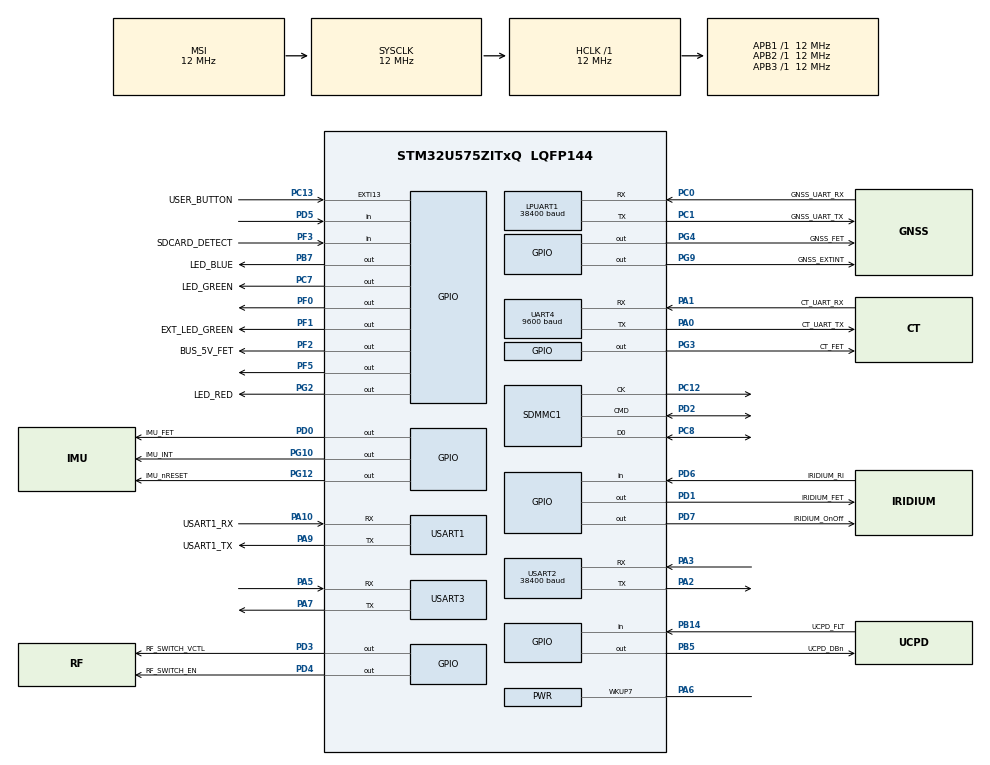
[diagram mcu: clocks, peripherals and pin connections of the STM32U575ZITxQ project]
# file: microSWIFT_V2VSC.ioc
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ADC4.Channel-0\#ChannelRegularConversion=ADC_CHANNEL_VREFINT
ADC4.NbrOfConversionFlag=1
ADC4.OffsetNumber-0\#ChannelRegularConversion=ADC_OFFSET_NONE
ADC4.Rank-0\#ChannelRegularConversion=1
ADC4.RankArg-0\#ChannelRegularConversion=ADC4_REGULAR_RANK_1
ADC4.SamplingTime-0\#ChannelRegularConversion=ADC4_SAMPLINGTIME_COMMON_1
ADC4.SelectedChannel=ADC_CHANNEL_VREFINT
CORTEX_M33_NS.userName=CORTEX_M33
FILEX.FX_SD_INTERFACE=1
FILEX.GLUE_FUNCTIONS=DMA_API
FILEX.TRANSFER_NOTIFICATION=ThreadX_Semaphore
FILEX.useRTOS=1
GPDMA1.CIRCULARMODE_GPDMACH0=DISABLE
GPDMA1.ChannelPRIV_GPDMACH0=DMA_CHANNEL_PRIV
GPDMA1.DATAHANDLING_GPDMACH0=NONE
GPDMA1.DESTINC_GPDMACH0=DMA_DINC_INCREMENTED
GPDMA1.DESTINC_GPDMACH1=DMA_DINC_INCREMENTED
GPDMA1.IPHANDLE_GPDMACH0-SIMPLEREQUEST_GPDMACH0=__NULL
GPDMA1.IPHANDLE_GPDMACH1-SIMPLEREQUEST_GPDMACH1=__NULL
GPDMA1.IPHANDLE_GPDMACH2-SIMPLEREQUEST_GPDMACH2=__NULL
GPDMA1.IPHANDLE_GPDMACH3-SIMPLEREQUEST_GPDMACH3=__NULL
GPDMA1.PRIORITY_GPDMACH1=DMA_LOW_PRIORITY_HIGH_WEIGHT
GPDMA1.REQUEST_GPDMACH0=GPDMA1_REQUEST_LPUART1_RX
GPDMA1.REQUEST_GPDMACH1=GPDMA1_REQUEST_UART4_RX
GPDMA1.REQUEST_GPDMACH2=GPDMA1_REQUEST_USART3_TX
GPDMA1.REQUEST_GPDMACH3=GPDMA1_REQUEST_USART3_RX
LPUART1.BaudRate=38400
Mcu.Family=STM32U5
Mcu.Name=STM32U575ZITxQ
Mcu.Package=LQFP144
NVIC.GPDMA1_Channel0_IRQn=true\:0\:0\:false\:false\:true\:true\:false\:true\:true
NVIC.GPDMA1_Channel1_IRQn=true\:0\:0\:false\:false\:true\:true\:false\:true\:true
NVIC.GPDMA1_Channel2_IRQn=true\:0\:0\:false\:false\:true\:true\:false\:true\:true
NVIC.GPDMA1_Channel3_IRQn=true\:0\:0\:false\:false\:true\:true\:false\:true\:true
NVIC.LPUART1_IRQn=true\:0\:0\:false\:false\:true\:false\:true\:true\:true
NVIC.PWR_S3WU_IRQn=true\:0\:0\:false\:false\:true\:false\:true\:true\:true
NVIC.PriorityGroup=NVIC_PRIORITYGROUP_3
NVIC.SDMMC1_IRQn=true\:0\:0\:false\:false\:true\:false\:true\:true\:true
NVIC.TIM17_IRQn=true\:0\:0\:false\:false\:true\:false\:true\:true\:true
NVIC.TIM4_IRQn=true\:7\:0\:false\:false\:true\:false\:false\:true\:true
NVIC.TimeBase=TIM4_IRQn
NVIC.TimeBaseIP=TIM4
NVIC.USART3_IRQn=true\:0\:0\:false\:false\:true\:false\:true\:true\:true
PA0.GPIO_Label=CT_UART_TX
PA0.Mode=Asynchronous
PA0.Signal=UART4_TX
PA1.GPIO_Label=CT_UART_RX
PA1.Mode=Asynchronous
PA1.Signal=UART4_RX
PA10.GPIO_Label=USART1_RX
PA10.GPIO_PuPd=GPIO_PULLDOWN
PA10.GPIO_Speed=GPIO_SPEED_FREQ_VERY_HIGH
PA10.Mode=Asynchronous
PA10.Signal=USART1_RX
PA11.GPIO_Label=USB_OTG_FS_DM
PA11.GPIO_Speed=GPIO_SPEED_FREQ_VERY_HIGH
PA11.Signal=USB_OTG_FS_DM
PA12.GPIO_Label=USB_OTG_FS_DP
PA12.GPIO_Speed=GPIO_SPEED_FREQ_VERY_HIGH
PA12.Signal=USB_OTG_FS_DP
PA13\ (JTMS/SWDIO).Mode=Trace_Asynchronous_SW
PA13\ (JTMS/SWDIO).Signal=DEBUG_JTMS-SWDIO
PA14\ (JTCK/SWCLK).Mode=Trace_Asynchronous_SW
PA14\ (JTCK/SWCLK).Signal=DEBUG_JTCK-SWCLK
PA15\ (JTDI).GPIO_Label=UCPD1_CC1
PA15\ (JTDI).Signal=UCPD1_CC1
PA2.Mode=Asynchronous
PA2.Signal=USART2_TX
PA3.Mode=Asynchronous
PA3.Signal=USART2_RX
PA5.Mode=Asynchronous
PA5.Signal=USART3_RX
PA6.Mode=WakeUp7
PA6.Signal=PWR_WKUP7
PA7.Mode=Asynchronous
PA7.Signal=USART3_TX
PA9.GPIO_Label=USART1_TX
PA9.GPIO_PuPd=GPIO_PULLDOWN
PA9.GPIO_Speed=GPIO_SPEED_FREQ_VERY_HIGH
PA9.Mode=Asynchronous
PA9.Signal=USART1_TX
PB14.GPIO_Label=UCPD_FLT
PB14.Signal=GPIO_Input
PB15.GPIO_Label=UCPD1_CC2
PB15.Signal=UCPD1_CC2
PB3\ (JTDO/TRACESWO).Mode=Trace_Asynchronous_SW
PB3\ (JTDO/TRACESWO).Signal=DEBUG_JTDO-SWO
PB5.GPIO_Label=UCPD_DBn
PB5.Signal=GPIO_Output
PB7.GPIO_Label=LED_BLUE
PB7.Signal=GPIO_Output
PC0.GPIO_Label=GNSS_UART_RX
PC0.Mode=Asynchronous
PC0.Signal=LPUART1_RX
PC1.GPIO_Label=GNSS_UART_TX
PC1.Mode=Asynchronous
PC1.Signal=LPUART1_TX
PC12.Mode=SD_1_bit
PC12.Signal=SDMMC1_CK
PC13.GPIO_Label=USER_BUTTON
PC13.GPIO_ModeDefaultEXTI=GPIO_MODE_IT_FALLING
PC13.Signal=GPXTI13
PC14-OSC32_IN\ (PC14).Mode=LSE-External-Oscillator
PC14-OSC32_IN\ (PC14).Signal=RCC_OSC32_IN
PC15-OSC32_OUT\ (PC15).Mode=LSE-External-Oscillator
PC15-OSC32_OUT\ (PC15).Signal=RCC_OSC32_OUT
PC7.GPIO_Label=LED_GREEN
PC7.GPIO_PuPd=GPIO_PULLUP
PC7.GPIO_Speed=GPIO_SPEED_FREQ_HIGH
PC7.Signal=GPIO_Output
PC8.Mode=SD_1_bit
PC8.Signal=SDMMC1_D0
PD0.GPIO_Label=IMU_FET
PD0.Signal=GPIO_Output
PD1.GPIO_Label=IRIDIUM_FET
PD1.Signal=GPIO_Output
PD2.Mode=SD_1_bit
PD2.Signal=SDMMC1_CMD
PD3.GPIO_Label=RF_SWITCH_VCTL
PD3.Signal=GPIO_Output
PD4.GPIO_Label=RF_SWITCH_EN
PD4.Signal=GPIO_Output
PD5.Signal=GPIO_Input
PD6.GPIO_Label=IRIDIUM_RI
PD6.Signal=GPIO_Input
PD7.GPIO_Label=IRIDIUM_OnOff
PD7.GPIO_ModeDefaultOutputPP=GPIO_MODE_OUTPUT_PP
PD7.GPIO_PuPd=GPIO_NOPULL
PD7.GPIO_Speed=GPIO_SPEED_FREQ_LOW
PD7.PinState=GPIO_PIN_RESET
PD7.Signal=GPIO_Output
PF0.Signal=GPIO_Output
PF1.GPIO_Label=EXT_LED_GREEN
PF1.Signal=GPIO_Output
PF2.GPIO_Label=BUS_5V_FET
PF2.Signal=GPIO_Output
PF3.GPIO_Label=SDCARD_DETECT
PF3.Signal=GPIO_Input
PF5.Signal=GPIO_Output
PG10.GPIO_Label=IMU_INT
PG10.Signal=GPIO_Output
PG12.GPIO_Label=IMU_nRESET
PG12.Signal=GPIO_Output
PG2.GPIO_Label=LED_RED
PG2.Signal=GPIO_Output
PG3.GPIO_Label=CT_FET
PG3.Signal=GPIO_Output
PG4.GPIO_Label=GNSS_FET
PG4.Signal=GPIO_Output
PG9.GPIO_Label=GNSS_EXTINT
PG9.Signal=GPIO_Output
PWR.DMA2DPowerDownInStopMode=__NULL
PWR.Dcache1PowerDownInStopMode=__NULL
PWR.IcachePowerDownInStopMode=PWR_ICACHE_FULL_STOP_RETENTION
PWR.PowerMode=PWR_SMPS_SUPPLY
PWR.RAM1Page1PowerDownInStopMode=__NULL
PWR.RAM1Page2PowerDownInStopMode=__NULL
PWR.RAM1Page3PowerDownInStopMode=__NULL
PWR.RAM2Page1PowerDownInStopMode=__NULL
PWR.RAM2Page2PowerDownInStopMode=__NULL
PWR.RAM3Page1PowerDownInStopMode=__NULL
PWR.RAM3Page2PowerDownInStopMode=__NULL
PWR.RAM3Page3PowerDownInStopMode=__NULL
PWR.RAM3Page4PowerDownInStopMode=__NULL
PWR.RAM3Page5PowerDownInStopMode=__NULL
PWR.RAM3Page6PowerDownInStopMode=__NULL
PWR.RAM3Page7PowerDownInStopMode=__NULL
PWR.RAM3Page8PowerDownInStopMode=__NULL
PWR.SRAM4PowerDownInStopMode=PWR_SRAM4_FULL_STOP_RETENTION
PWR.pwrPrivilege=PWR_PRIVILEGE_NO
ProjectManager.HeapSize=0x200
ProjectManager.StackSize=0x400
ProjectManager.TargetToolchain=CMake
RCC.ADCCLockSelection=RCC_ADCDACCLKSOURCE_SYSCLK
RCC.ADCFreq_Value=12000000
RCC.AHBFreq_Value=12000000
RCC.APB1Freq_Value=12000000
RCC.APB1TimFreq_Value=12000000
RCC.APB2Freq_Value=12000000
RCC.APB2TimFreq_Value=12000000
RCC.APB3Freq_Value=12000000
RCC.CortexFreq_Value=12000000
RCC.DACCLockSelectionVirtual=RCC_DAC1CLKSOURCE_LSI
RCC.DACCLockSelectionVirtualString=RCC_DAC1CLKSOURCE_LSI
RCC.EPOD_VALUE=12000000
RCC.EnableCSSLSE=true
RCC.HCLKFreq_Value=12000000
RCC.HSE_VALUE=16000000
RCC.HSI48_VALUE=48000000
RCC.HSI_VALUE=16000000
RCC.LPTIM1CLockSelectionVirtual=RCC_LPTIM1CLKSOURCE_LSE
RCC.LPUART1CLockSelectionVirtual=RCC_LPUART1CLKSOURCE_SYSCLK
RCC.LSE_Drive_Capability=RCC_LSEDRIVE_HIGH
RCC.LSIDIV_VALUE=32000
RCC.MSIAutoCalibration=PLLMODE_MSIS
RCC.MSIClockRange=RCC_MSIRANGE_3
RCC.MSI_VALUE=12000000
RCC.PLL1R=6
RCC.PLL1_VCI_Range-AdvancedSettings=RCC_PLLVCIRANGE_0
RCC.PLL2FRACN=0
RCC.PLL3FRACN=0
RCC.PLLFRACN=0
RCC.PLLM=3
RCC.PLLN=32
RCC.RTCClockSelection=RCC_RTCCLKSOURCE_LSE
RCC.SYSCLKFreq_VALUE=12000000
RCC.UART4CLockSelectionVirtual=RCC_UART4CLKSOURCE_SYSCLK
RCC.UART5CLockSelectionVirtual=RCC_UART5CLKSOURCE_SYSCLK
RCC.USBFreq_Value=48000000
RCC.VCOOutputFreq_Value=128000000
RTC.BinMode=RTC_BINARY_NONE
RTC.Format=RTC_FORMAT_BCD
RTC.rtcPrivilegeFull=RTC_PRIVILEGE_FULL_YES
SDMMC1.ClockDiv=4
SDMMC1.HardwareFlowControl=SDMMC_HARDWARE_FLOW_CONTROL_ENABLE
THREADX.ALIGN_TYPE_DEFINED=1
THREADX.AZRTOS_APP_MEM_ALLOCATION_METHOD=1
THREADX.TX_APP_MEM_POOL_SIZE=131072
THREADX.TX_MINIMUM_STACK=800
THREADX.TX_TIMER_TICKS_PER_SECOND=10
TIM16.PeriodNoDither=59999
TIM16.Prescaler=12000
TIM17.PeriodNoDither=59999
TIM17.Prescaler=12000
TIM17.RepetitionCounter=10
UART4.BaudRate=9600
USART1.VirtualMode-Asynchronous=VM_ASYNC
USART2.BaudRate=38400
USART2.VirtualMode-Asynchronous=VM_ASYNC
USART3.VirtualMode-Asynchronous=VM_ASYNC
VP_ADC4_Vref_Input.Mode=IN-Vrefint
VP_FILEX_VS_FileOoSystemJjFileXJjCore.Mode=FileX_Core
VP_FILEX_VS_SDOointerface.Mode=SD_interface
VP_GPDMA1_VS_GPDMACH0.Mode=SIMPLEREQUEST_GPDMACH0
VP_GPDMA1_VS_GPDMACH1.Mode=SIMPLEREQUEST_GPDMACH1
VP_GPDMA1_VS_GPDMACH2.Mode=SIMPLEREQUEST_GPDMACH2
VP_GPDMA1_VS_GPDMACH3.Mode=SIMPLEREQUEST_GPDMACH3
VP_ICACHE_VS_ICACHE.Mode=DirectMappedCache
VP_LPBAMQUEUE_VS_QUEUE.Mode=QUEUEMODE
VP_LPBAM_VS_SIG1.Mode=SmartRun
VP_LPBAM_VS_SIG4.Mode=LPDMA1
VP_PWR_VS_DBSignals.Mode=DisableDeadBatterySignals
VP_PWR_VS_LPOM.Mode=PowerOptimisation
VP_PWR_VS_SECSignals.Mode=Security/Privilege
VP_RTC_VS_RTC_Activate.Mode=RTC_Enabled
VP_RTC_VS_RTC_Calendar.Mode=RTC_Calendar
VP_SYS_VS_tim4.Mode=TIM4
VP_THREADX_VS_RTOSJjThreadXJjCoreJjDefault.Mode=Core_Default
VP_TIM16_VS_ClockSourceINT.Mode=Enable_Timer
VP_TIM17_VS_ClockSourceINT.Mode=Enable_Timer
VREF+.Mode=InternalMode
VREF+.Signal=VREFBUF_OUT
board=NUCLEO-U575ZI-Q

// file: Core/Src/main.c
/* USER CODE BEGIN Header */
/**
  ******************************************************************************
  * @file           : main.c
  * @brief          : Main program body
  ******************************************************************************
  * @attention
  *
  * Copyright (c) 2022 STMicroelectronics.
  * All rights reserved.
  *
  * This software is licensed under terms that can be found in the LICENSE file
  * in the root directory of this software component.
  * If no LICENSE file comes with this software, it is provided AS-IS.
  *
  ******************************************************************************
*/
/* USER CODE END Header */
#include "main.h"
#include "app_threadx.h"

/* USER CODE BEGIN Includes */
#include "tx_api.h"
#include <string.h>
/* USER CODE END Includes */

ADC_HandleTypeDef hadc4;

UART_HandleTypeDef hlpuart1;
UART_HandleTypeDef huart4;
UART_HandleTypeDef huart1;
UART_HandleTypeDef huart2;
UART_HandleTypeDef huart3;
DMA_HandleTypeDef handle_GPDMA1_Channel0;
DMA_HandleTypeDef handle_GPDMA1_Channel1;
DMA_HandleTypeDef handle_GPDMA1_Channel3;
DMA_HandleTypeDef handle_GPDMA1_Channel2;

RTC_HandleTypeDef hrtc;

SD_HandleTypeDef hsd1;

TIM_HandleTypeDef htim16;
TIM_HandleTypeDef htim17;

void SystemClock_Config(void);
static void SystemPower_Config(void);
static void MX_GPIO_Init(void);
static void MX_GPDMA1_Init(void);
static void MX_RTC_Init(void);
static void MX_ICACHE_Init(void);
static void MX_UART4_Init(void);
static void MX_ADC4_Init(void);
static void MX_TIM17_Init(void);
static void MX_LPUART1_UART_Init(void);
static void MX_TIM16_Init(void);
static void MX_USART1_UART_Init(void);
static void MX_USART2_UART_Init(void);
static void MX_SDMMC1_SD_Init(void);
static void MX_USART3_UART_Init(void);
/* USER CODE BEGIN PFP */
extern void shut_it_all_down(void);
/*void Send_MON_VER(void);
void Read_MON_VER_Response(void);
void Process_MON_VER_Response(uint8_t *data, uint16_t len);*/

/* USER CODE END PFP */

/* USER CODE BEGIN 0 */
int _write(int file, char *ptr, int len){
  HAL_UART_Transmit(&huart1, (uint8_t*)ptr, len, HAL_MAX_DELAY);
  return len;
}
/* USER CODE END 0 */

int main(void)
{

  /* MCU Configuration--------------------------------------------------------*/

  /* Reset of all peripherals, Initializes the Flash interface and the Systick. */
  HAL_Init();

  /* USER CODE BEGIN Init */
  // Force the reset of the RTC and clear anything in the backup domain
  HAL_PWR_EnableBkUpAccess();
  __HAL_RCC_BACKUPRESET_FORCE();
  HAL_Delay(1);
  __HAL_RCC_BACKUPRESET_RELEASE();
  /* USER CODE END Init */

  /* Configure the system clock */
  SystemClock_Config();

  /* Configure the System Power */
  SystemPower_Config();

  /* USER CODE BEGIN SysInit */
  /*
   * !!!!!!!!!!!!!!!!!!!!!!!!!!!!!!!!!!!!!!!!!!!!!!!!!!!!!!!!!!!!!!!!!!!!!!!!!!!!!
   *
   * DO
   * NOT
   * EVER
   * CALL
   *
   * HAL_DBGMCU_EnableDBGStopMode()
   *
   * WHEN
   * USING
   * RTC
   * AS
   * WAKEUP
   * SOURCE!!!
   *
   * RE-READ
   * THE
   * ERRATA
   * IF
   * YOU'VE
   * FORGOTTEN
   * WHY
   * !!!!!!!!!!!!!!!!!!!!!!!!!!!!!!!!!!!!!!!!!!!!!!!!!!!!!!!!!!!!!!!!!!!!!!!!!!!!!
   */

  /* USER CODE END SysInit */

  /* Initialize all configured peripherals */
  MX_GPIO_Init();
  MX_GPDMA1_Init();
  MX_RTC_Init();
  MX_ICACHE_Init();
  MX_UART4_Init();
  MX_ADC4_Init();
  MX_TIM17_Init();
  MX_LPUART1_UART_Init();
  MX_TIM16_Init();
  MX_USART1_UART_Init();
  MX_USART2_UART_Init();
  MX_SDMMC1_SD_Init();
  MX_USART3_UART_Init();
  /* USER CODE BEGIN 2 */

  uint32_t reset_reason = HAL_RCC_GetResetSource();

  device_handles_t handles;

  handles.hrtc = &hrtc;
  //handles.CT_uart = &huart4;
  handles.BLE_uart = &huart3; // Use uart3 temporarily for BLE
  //handles.Iridium_uart = &huart3;
  handles.GNSS_uart = &hlpuart1;
  handles.BLE_dma_handle = &handle_GPDMA1_Channel2; // Use GPDMA1_Channel1 temporarily for BLE
  // in hal_msp, config changed to handle_GPDMA1_Channel2.Init.SrcInc = DMA_SINC_INCREMENTED;
  // DMA_SINC_FIXED for Iridium
  //handles.CT_dma_handle = &handle_GPDMA1_Channel1;
  handles.GNSS_dma_handle = &handle_GPDMA1_Channel0;
  //handles.Iridium_tx_dma_handle = &handle_GPDMA1_Channel2;
  //handles.Iridium_rx_dma_handle = &handle_GPDMA1_Channel3;
  handles.iridium_timer = &htim17;
  handles.gnss_timer = &htim16;
  handles.reset_reason = reset_reason;
  handles.sd_handle = &hsd1;

  MX_ThreadX_Init(&handles);
  /* USER CODE END 2 */

  /* We should never get here as control is now taken by the scheduler */
  /* Infinite loop */
  /* USER CODE BEGIN WHILE */
  while (1)
  {
    //Send_MON_VER();  // Send MON-VER message
    //Read_MON_VER_Response();  // Read the response
    HAL_Delay(1000);
	  //shut_it_all_down();
	  //HAL_NVIC_SystemReset();
    /* USER CODE END WHILE */

  }
}

void SystemClock_Config(void)
{
  RCC_OscInitTypeDef RCC_OscInitStruct = {0};
  RCC_ClkInitTypeDef RCC_ClkInitStruct = {0};

  /** Configure the main internal regulator output voltage
  */
  if (HAL_PWREx_ControlVoltageScaling(PWR_REGULATOR_VOLTAGE_SCALE3) != HAL_OK)
  {
    Error_Handler();
  }

  /** Configure LSE Drive Capability
  */
  HAL_PWR_EnableBkUpAccess();
  __HAL_RCC_LSEDRIVE_CONFIG(RCC_LSEDRIVE_HIGH);

  /** Initializes the CPU, AHB and APB buses clocks
  */
  RCC_OscInitStruct.OscillatorType = RCC_OSCILLATORTYPE_LSE|RCC_OSCILLATORTYPE_MSI;
  RCC_OscInitStruct.LSEState = RCC_LSE_ON;
  RCC_OscInitStruct.MSIState = RCC_MSI_ON;
  RCC_OscInitStruct.MSICalibrationValue = RCC_MSICALIBRATION_DEFAULT;
  RCC_OscInitStruct.MSIClockRange = RCC_MSIRANGE_3;
  RCC_OscInitStruct.PLL.PLLState = RCC_PLL_ON;
  RCC_OscInitStruct.PLL.PLLSource = RCC_PLLSOURCE_MSI;
  RCC_OscInitStruct.PLL.PLLMBOOST = RCC_PLLMBOOST_DIV1;
  RCC_OscInitStruct.PLL.PLLM = 3;
  RCC_OscInitStruct.PLL.PLLN = 32;
  RCC_OscInitStruct.PLL.PLLP = 2;
  RCC_OscInitStruct.PLL.PLLQ = 2;
  RCC_OscInitStruct.PLL.PLLR = 6;
  RCC_OscInitStruct.PLL.PLLRGE = RCC_PLLVCIRANGE_0;
  RCC_OscInitStruct.PLL.PLLFRACN = 0;
  if (HAL_RCC_OscConfig(&RCC_OscInitStruct) != HAL_OK)
  {
    Error_Handler();
  }

  /** Initializes the CPU, AHB and APB buses clocks
  */
  RCC_ClkInitStruct.ClockType = RCC_CLOCKTYPE_HCLK|RCC_CLOCKTYPE_SYSCLK
                              |RCC_CLOCKTYPE_PCLK1|RCC_CLOCKTYPE_PCLK2
                              |RCC_CLOCKTYPE_PCLK3;
  RCC_ClkInitStruct.SYSCLKSource = RCC_SYSCLKSOURCE_MSI;
  RCC_ClkInitStruct.AHBCLKDivider = RCC_SYSCLK_DIV1;
  RCC_ClkInitStruct.APB1CLKDivider = RCC_HCLK_DIV1;
  RCC_ClkInitStruct.APB2CLKDivider = RCC_HCLK_DIV1;
  RCC_ClkInitStruct.APB3CLKDivider = RCC_HCLK_DIV1;

  if (HAL_RCC_ClockConfig(&RCC_ClkInitStruct, FLASH_LATENCY_0) != HAL_OK)
  {
    Error_Handler();
  }

  /** Enable MSI Auto calibration
  */
  HAL_RCCEx_EnableMSIPLLMode();

  /** Enables the Clock Security System
  */
  HAL_RCCEx_EnableLSECSS();
}

/**
  * @brief Power Configuration
  * @retval None
  */
static void SystemPower_Config(void)
{
  HAL_PWREx_EnableVddIO2();

  /*
   * Disable the internal Pull-Up in Dead Battery pins of UCPD peripheral
   */
  HAL_PWREx_DisableUCPDDeadBattery();

  /*
   * SRAM Power Down In Stop Mode Config
   */
  HAL_PWREx_DisableRAMsContentStopRetention(PWR_SRAM4_FULL_STOP_RETENTION);
  HAL_PWREx_DisableRAMsContentStopRetention(PWR_ICACHE_FULL_STOP_RETENTION);

  /*
   * Switch to SMPS regulator instead of LDO
   */
  if (HAL_PWREx_ConfigSupply(PWR_SMPS_SUPPLY) != HAL_OK)
  {
    Error_Handler();
  }
  /* PWR_S3WU_IRQn interrupt configuration */
  HAL_NVIC_SetPriority(PWR_S3WU_IRQn, 0, 0);
  HAL_NVIC_EnableIRQ(PWR_S3WU_IRQn);
}

static void MX_ADC4_Init(void)
{

  ADC_ChannelConfTypeDef sConfig = {0};

  /** Common config
  */
  hadc4.Instance = ADC4;
  hadc4.Init.ClockPrescaler = ADC_CLOCK_ASYNC_DIV1;
  hadc4.Init.Resolution = ADC_RESOLUTION_12B;
  hadc4.Init.DataAlign = ADC_DATAALIGN_RIGHT;
  hadc4.Init.ScanConvMode = ADC4_SCAN_DISABLE;
  hadc4.Init.EOCSelection = ADC_EOC_SINGLE_CONV;
  hadc4.Init.LowPowerAutoPowerOff = ADC_LOW_POWER_NONE;
  hadc4.Init.LowPowerAutoWait = DISABLE;
  hadc4.Init.ContinuousConvMode = DISABLE;
  hadc4.Init.NbrOfConversion = 1;
  hadc4.Init.DiscontinuousConvMode = DISABLE;
  hadc4.Init.ExternalTrigConv = ADC_SOFTWARE_START;
  hadc4.Init.ExternalTrigConvEdge = ADC_EXTERNALTRIGCONVEDGE_NONE;
  hadc4.Init.DMAContinuousRequests = DISABLE;
  hadc4.Init.TriggerFrequencyMode = ADC_TRIGGER_FREQ_LOW;
  hadc4.Init.VrefProtection = ADC_VREF_PPROT_NONE;
  hadc4.Init.Overrun = ADC_OVR_DATA_PRESERVED;
  hadc4.Init.SamplingTimeCommon1 = ADC4_SAMPLETIME_1CYCLE_5;
  hadc4.Init.SamplingTimeCommon2 = ADC4_SAMPLETIME_1CYCLE_5;
  hadc4.Init.OversamplingMode = DISABLE;
  if (HAL_ADC_Init(&hadc4) != HAL_OK)
  {
    Error_Handler();
  }

  /** Configure Regular Channel
  */
  sConfig.Channel = ADC_CHANNEL_VREFINT;
  sConfig.Rank = ADC4_REGULAR_RANK_1;
  sConfig.SamplingTime = ADC4_SAMPLINGTIME_COMMON_1;
  sConfig.OffsetNumber = ADC_OFFSET_NONE;
  sConfig.Offset = 0;
  if (HAL_ADC_ConfigChannel(&hadc4, &sConfig) != HAL_OK)
  {
    Error_Handler();
  }

}

static void MX_GPDMA1_Init(void)
{

  /* Peripheral clock enable */
  __HAL_RCC_GPDMA1_CLK_ENABLE();

  /* GPDMA1 interrupt Init */
    HAL_NVIC_SetPriority(GPDMA1_Channel0_IRQn, 0, 0);
    HAL_NVIC_EnableIRQ(GPDMA1_Channel0_IRQn);
    HAL_NVIC_SetPriority(GPDMA1_Channel1_IRQn, 0, 0);
    HAL_NVIC_EnableIRQ(GPDMA1_Channel1_IRQn);
    HAL_NVIC_SetPriority(GPDMA1_Channel2_IRQn, 0, 0);
    HAL_NVIC_EnableIRQ(GPDMA1_Channel2_IRQn);
    HAL_NVIC_SetPriority(GPDMA1_Channel3_IRQn, 0, 0);
    HAL_NVIC_EnableIRQ(GPDMA1_Channel3_IRQn);

  /* USER CODE BEGIN GPDMA1_Init 1 */

  /* GPDMA1 interrupt Init */
//  HAL_NVIC_SetPriority(GPDMA1_Channel0_IRQn, 0, 0);
//  HAL_NVIC_EnableIRQ(GPDMA1_Channel0_IRQn);

  /* USER CODE END GPDMA1_Init 1 */

}

static void MX_ICACHE_Init(void)
{

  /** Enable instruction cache in 1-way (direct mapped cache)
  */
  if (HAL_ICACHE_ConfigAssociativityMode(ICACHE_1WAY) != HAL_OK)
  {
    Error_Handler();
  }
  if (HAL_ICACHE_Enable() != HAL_OK)
  {
    Error_Handler();
  }

}

static void MX_LPUART1_UART_Init(void)
{

  hlpuart1.Instance = LPUART1;
  hlpuart1.Init.BaudRate = 38400;
  hlpuart1.Init.WordLength = UART_WORDLENGTH_8B;
  hlpuart1.Init.StopBits = UART_STOPBITS_1;
  hlpuart1.Init.Parity = UART_PARITY_NONE;
  hlpuart1.Init.Mode = UART_MODE_TX_RX;
  hlpuart1.Init.HwFlowCtl = UART_HWCONTROL_NONE;
  hlpuart1.Init.OneBitSampling = UART_ONE_BIT_SAMPLE_DISABLE;
  hlpuart1.AdvancedInit.AdvFeatureInit = UART_ADVFEATURE_NO_INIT;
  hlpuart1.FifoMode = UART_FIFOMODE_DISABLE;
  if (HAL_UART_Init(&hlpuart1) != HAL_OK)
  {
    Error_Handler();
  }
  if (HAL_UARTEx_SetTxFifoThreshold(&hlpuart1, UART_TXFIFO_THRESHOLD_1_8) != HAL_OK)
  {
    Error_Handler();
  }
  if (HAL_UARTEx_SetRxFifoThreshold(&hlpuart1, UART_RXFIFO_THRESHOLD_1_8) != HAL_OK)
  {
    Error_Handler();
  }
  if (HAL_UARTEx_DisableFifoMode(&hlpuart1) != HAL_OK)
  {
    Error_Handler();
  }

}

static void MX_UART4_Init(void)
{

  huart4.Instance = UART4;
  huart4.Init.BaudRate = 9600;
  huart4.Init.WordLength = UART_WORDLENGTH_8B;
  huart4.Init.StopBits = UART_STOPBITS_1;
  huart4.Init.Parity = UART_PARITY_NONE;
  huart4.Init.Mode = UART_MODE_TX_RX;
  huart4.Init.HwFlowCtl = UART_HWCONTROL_NONE;
  huart4.Init.OverSampling = UART_OVERSAMPLING_16;
  huart4.Init.OneBitSampling = UART_ONE_BIT_SAMPLE_DISABLE;
  huart4.Init.ClockPrescaler = UART_PRESCALER_DIV1;
  huart4.AdvancedInit.AdvFeatureInit = UART_ADVFEATURE_NO_INIT;
  if (HAL_UART_Init(&huart4) != HAL_OK)
  {
    Error_Handler();
  }
  if (HAL_UARTEx_SetTxFifoThreshold(&huart4, UART_TXFIFO_THRESHOLD_1_8) != HAL_OK)
  {
    Error_Handler();
  }
  if (HAL_UARTEx_SetRxFifoThreshold(&huart4, UART_RXFIFO_THRESHOLD_1_8) != HAL_OK)
  {
    Error_Handler();
  }
  if (HAL_UARTEx_DisableFifoMode(&huart4) != HAL_OK)
  {
    Error_Handler();
  }

}

static void MX_USART1_UART_Init(void)
{

  huart1.Instance = USART1;
  huart1.Init.BaudRate = 115200;
  huart1.Init.WordLength = UART_WORDLENGTH_8B;
  huart1.Init.StopBits = UART_STOPBITS_1;
  huart1.Init.Parity = UART_PARITY_NONE;
  huart1.Init.Mode = UART_MODE_TX_RX;
  huart1.Init.HwFlowCtl = UART_HWCONTROL_NONE;
  huart1.Init.OverSampling = UART_OVERSAMPLING_16;
  huart1.Init.OneBitSampling = UART_ONE_BIT_SAMPLE_DISABLE;
  huart1.Init.ClockPrescaler = UART_PRESCALER_DIV1;
  huart1.AdvancedInit.AdvFeatureInit = UART_ADVFEATURE_NO_INIT;
  if (HAL_UART_Init(&huart1) != HAL_OK)
  {
    Error_Handler();
  }
  if (HAL_UARTEx_SetTxFifoThreshold(&huart1, UART_TXFIFO_THRESHOLD_1_8) != HAL_OK)
  {
    Error_Handler();
  }
  if (HAL_UARTEx_SetRxFifoThreshold(&huart1, UART_RXFIFO_THRESHOLD_1_8) != HAL_OK)
  {
    Error_Handler();
  }
  if (HAL_UARTEx_DisableFifoMode(&huart1) != HAL_OK)
  {
    Error_Handler();
  }

}

static void MX_USART2_UART_Init(void)
{

  huart2.Instance = USART2;
  huart2.Init.BaudRate = 38400;
  huart2.Init.WordLength = UART_WORDLENGTH_8B;
  huart2.Init.StopBits = UART_STOPBITS_1;
  huart2.Init.Parity = UART_PARITY_NONE;
  huart2.Init.Mode = UART_MODE_TX_RX;
  huart2.Init.HwFlowCtl = UART_HWCONTROL_NONE;
  huart2.Init.OverSampling = UART_OVERSAMPLING_16;
  huart2.Init.OneBitSampling = UART_ONE_BIT_SAMPLE_DISABLE;
  huart2.Init.ClockPrescaler = UART_PRESCALER_DIV1;
  huart2.AdvancedInit.AdvFeatureInit = UART_ADVFEATURE_NO_INIT;
  if (HAL_UART_Init(&huart2) != HAL_OK)
  {
    Error_Handler();
  }
  if (HAL_UARTEx_SetTxFifoThreshold(&huart2, UART_TXFIFO_THRESHOLD_1_8) != HAL_OK)
  {
    Error_Handler();
  }
  if (HAL_UARTEx_SetRxFifoThreshold(&huart2, UART_RXFIFO_THRESHOLD_1_8) != HAL_OK)
  {
    Error_Handler();
  }
  if (HAL_UARTEx_DisableFifoMode(&huart2) != HAL_OK)
  {
    Error_Handler();
  }

}

static void MX_USART3_UART_Init(void)
{

  huart3.Instance = USART3;
  huart3.Init.BaudRate = 9600;
  huart3.Init.WordLength = UART_WORDLENGTH_8B;
  huart3.Init.StopBits = UART_STOPBITS_1;
  huart3.Init.Parity = UART_PARITY_NONE;
  huart3.Init.Mode = UART_MODE_TX_RX;
  huart3.Init.HwFlowCtl = UART_HWCONTROL_NONE;
  huart3.Init.OverSampling = UART_OVERSAMPLING_16;
  huart3.Init.OneBitSampling = UART_ONE_BIT_SAMPLE_DISABLE;
  huart3.Init.ClockPrescaler = UART_PRESCALER_DIV1;
  huart3.AdvancedInit.AdvFeatureInit = UART_ADVFEATURE_NO_INIT;
  if (HAL_UART_Init(&huart3) != HAL_OK)
  {
    Error_Handler();
  }
  if (HAL_UARTEx_SetTxFifoThreshold(&huart3, UART_TXFIFO_THRESHOLD_1_8) != HAL_OK)
  {
    Error_Handler();
  }
  if (HAL_UARTEx_SetRxFifoThreshold(&huart3, UART_RXFIFO_THRESHOLD_1_8) != HAL_OK)
  {
    Error_Handler();
  }
  if (HAL_UARTEx_DisableFifoMode(&huart3) != HAL_OK)
  {
    Error_Handler();
  }

}

static void MX_RTC_Init(void)
{

  RTC_PrivilegeStateTypeDef privilegeState = {0};
  RTC_TimeTypeDef sTime = {0};
  RTC_DateTypeDef sDate = {0};

  /* USER CODE BEGIN RTC_Init 1 */
  RTC_DateTypeDef rtc_date;
  RTC_TimeTypeDef rtc_time;
  /* USER CODE END RTC_Init 1 */

  /** Initialize RTC Only
  */
  hrtc.Instance = RTC;
  hrtc.Init.HourFormat = RTC_HOURFORMAT_24;
  hrtc.Init.AsynchPrediv = 127;
  hrtc.Init.SynchPrediv = 255;
  hrtc.Init.OutPut = RTC_OUTPUT_DISABLE;
  hrtc.Init.OutPutRemap = RTC_OUTPUT_REMAP_NONE;
  hrtc.Init.OutPutPolarity = RTC_OUTPUT_POLARITY_HIGH;
  hrtc.Init.OutPutType = RTC_OUTPUT_TYPE_OPENDRAIN;
  hrtc.Init.OutPutPullUp = RTC_OUTPUT_PULLUP_NONE;
  hrtc.Init.BinMode = RTC_BINARY_NONE;
  if (HAL_RTC_Init(&hrtc) != HAL_OK)
  {
    Error_Handler();
  }
  privilegeState.rtcPrivilegeFull = RTC_PRIVILEGE_FULL_YES;
  privilegeState.backupRegisterPrivZone = RTC_PRIVILEGE_BKUP_ZONE_NONE;
  privilegeState.backupRegisterStartZone2 = RTC_BKP_DR0;
  privilegeState.backupRegisterStartZone3 = RTC_BKP_DR0;
  if (HAL_RTCEx_PrivilegeModeSet(&hrtc, &privilegeState) != HAL_OK)
  {
    Error_Handler();
  }

  /** Initialize RTC and set the Time and Date
  */
  sTime.Hours = 0x0;
  sTime.Minutes = 0x0;
  sTime.Seconds = 0x0;
  sTime.DayLightSaving = RTC_DAYLIGHTSAVING_NONE;
  sTime.StoreOperation = RTC_STOREOPERATION_RESET;
  if (HAL_RTC_SetTime(&hrtc, &sTime, RTC_FORMAT_BCD) != HAL_OK)
  {
    Error_Handler();
  }
  sDate.WeekDay = RTC_WEEKDAY_MONDAY;
  sDate.Month = RTC_MONTH_JANUARY;
  sDate.Date = 0x1;
  sDate.Year = 0x0;

  if (HAL_RTC_SetDate(&hrtc, &sDate, RTC_FORMAT_BCD) != HAL_OK)
  {
    Error_Handler();
  }
  /* USER CODE BEGIN RTC_Init 2 */

  // Set date/time to something arbitrary in the event GNSS can't resolve time
  // in the first window
  rtc_date.Date = 2;
  rtc_date.Month = 2;
  rtc_date.WeekDay = RTC_WEEKDAY_MONDAY;
  rtc_date.Year = 23;
  rtc_time.Hours = 2;
  rtc_time.Minutes = 2;
  rtc_time.Seconds = 2;
  rtc_time.SecondFraction = 0;

  if (HAL_RTC_SetTime(&hrtc, &rtc_time, RTC_FORMAT_BIN) != HAL_OK) {
	  Error_Handler();
  }
  if (HAL_RTC_SetDate(&hrtc, &rtc_date, RTC_FORMAT_BIN) != HAL_OK) {
	  Error_Handler();
  }
  // Enable RTC low power calibration
  if (HAL_RTCEx_SetLowPowerCalib(&hrtc, RTC_LPCAL_SET) != HAL_OK)
  {
	  Error_Handler();
  }

  /* USER CODE END RTC_Init 2 */

}

static void MX_SDMMC1_SD_Init(void)
{

  hsd1.Instance = SDMMC1;
  hsd1.Init.ClockEdge = SDMMC_CLOCK_EDGE_RISING;
  hsd1.Init.ClockPowerSave = SDMMC_CLOCK_POWER_SAVE_DISABLE;
  hsd1.Init.BusWide = SDMMC_BUS_WIDE_1B;
  hsd1.Init.HardwareFlowControl = SDMMC_HARDWARE_FLOW_CONTROL_ENABLE;
  hsd1.Init.ClockDiv = 4;
  if (HAL_SD_Init(&hsd1) != HAL_OK)
  {
    Error_Handler();
  }

}

static void MX_TIM16_Init(void)
{

  htim16.Instance = TIM16;
  htim16.Init.Prescaler = 12000;
  htim16.Init.CounterMode = TIM_COUNTERMODE_UP;
  htim16.Init.Period = 59999;
  htim16.Init.ClockDivision = TIM_CLOCKDIVISION_DIV1;
  htim16.Init.RepetitionCounter = 0;
  htim16.Init.AutoReloadPreload = TIM_AUTORELOAD_PRELOAD_DISABLE;
  if (HAL_TIM_Base_Init(&htim16) != HAL_OK)
  {
    Error_Handler();
  }

}

static void MX_TIM17_Init(void)
{

  htim17.Instance = TIM17;
  htim17.Init.Prescaler = 12000;
  htim17.Init.CounterMode = TIM_COUNTERMODE_UP;
  htim17.Init.Period = 59999;
  htim17.Init.ClockDivision = TIM_CLOCKDIVISION_DIV1;
  htim17.Init.RepetitionCounter = 10;
  htim17.Init.AutoReloadPreload = TIM_AUTORELOAD_PRELOAD_DISABLE;
  if (HAL_TIM_Base_Init(&htim17) != HAL_OK)
  {
    Error_Handler();
  }

}

static void MX_GPIO_Init(void)
{
  GPIO_InitTypeDef GPIO_InitStruct = {0};

  /* GPIO Ports Clock Enable */
  __HAL_RCC_GPIOE_CLK_ENABLE();
  __HAL_RCC_GPIOC_CLK_ENABLE();
  __HAL_RCC_GPIOF_CLK_ENABLE();
  __HAL_RCC_GPIOH_CLK_ENABLE();
  __HAL_RCC_GPIOA_CLK_ENABLE();
  __HAL_RCC_GPIOB_CLK_ENABLE();
  __HAL_RCC_GPIOG_CLK_ENABLE();
  __HAL_RCC_GPIOD_CLK_ENABLE();

  /*Configure GPIO pin Output Level */
  HAL_GPIO_WritePin(GPIOF, GPIO_PIN_0|EXT_LED_GREEN_Pin|BUS_5V_FET_Pin|GPIO_PIN_5, GPIO_PIN_RESET);

  /*Configure GPIO pin Output Level */
  HAL_GPIO_WritePin(GPIOG, LED_RED_Pin|CT_FET_Pin|GNSS_FET_Pin|GNSS_EXTINT_Pin
                          |IMU_INT_Pin|IMU_nRESET_Pin, GPIO_PIN_RESET);

  /*Configure GPIO pin Output Level */
  HAL_GPIO_WritePin(LED_GREEN_GPIO_Port, LED_GREEN_Pin, GPIO_PIN_RESET);

  /*Configure GPIO pin Output Level */
  HAL_GPIO_WritePin(GPIOD, IMU_FET_Pin|IRIDIUM_FET_Pin|RF_SWITCH_VCTL_Pin|RF_SWITCH_EN_Pin
                          |IRIDIUM_OnOff_Pin, GPIO_PIN_RESET);

  /*Configure GPIO pin Output Level */
  HAL_GPIO_WritePin(GPIOB, UCPD_DBn_Pin|LED_BLUE_Pin, GPIO_PIN_RESET);

  /*Configure GPIO pins : PE2 PE3 PE4 PE5
                           PE6 PE7 PE8 PE9
                           PE10 PE11 PE12 PE13
                           PE14 PE15 PE0 PE1 */
  GPIO_InitStruct.Pin = GPIO_PIN_2|GPIO_PIN_3|GPIO_PIN_4|GPIO_PIN_5
                          |GPIO_PIN_6|GPIO_PIN_7|GPIO_PIN_8|GPIO_PIN_9
                          |GPIO_PIN_10|GPIO_PIN_11|GPIO_PIN_12|GPIO_PIN_13
                          |GPIO_PIN_14|GPIO_PIN_15|GPIO_PIN_0|GPIO_PIN_1;
  GPIO_InitStruct.Mode = GPIO_MODE_ANALOG;
  GPIO_InitStruct.Pull = GPIO_NOPULL;
  HAL_GPIO_Init(GPIOE, &GPIO_InitStruct);

  /*Configure GPIO pin : USER_BUTTON_Pin */
  GPIO_InitStruct.Pin = USER_BUTTON_Pin;
  GPIO_InitStruct.Mode = GPIO_MODE_IT_FALLING;
  GPIO_InitStruct.Pull = GPIO_NOPULL;
  HAL_GPIO_Init(USER_BUTTON_GPIO_Port, &GPIO_InitStruct);

  /*Configure GPIO pins : PF0 EXT_LED_GREEN_Pin BUS_5V_FET_Pin PF5 */
  GPIO_InitStruct.Pin = GPIO_PIN_0|EXT_LED_GREEN_Pin|BUS_5V_FET_Pin|GPIO_PIN_5;
  GPIO_InitStruct.Mode = GPIO_MODE_OUTPUT_PP;
  GPIO_InitStruct.Pull = GPIO_NOPULL;
  GPIO_InitStruct.Speed = GPIO_SPEED_FREQ_LOW;
  HAL_GPIO_Init(GPIOF, &GPIO_InitStruct);

  /*Configure GPIO pin : SDCARD_DETECT_Pin */
  GPIO_InitStruct.Pin = SDCARD_DETECT_Pin;
  GPIO_InitStruct.Mode = GPIO_MODE_INPUT;
  GPIO_InitStruct.Pull = GPIO_NOPULL;
  HAL_GPIO_Init(SDCARD_DETECT_GPIO_Port, &GPIO_InitStruct);

  /*Configure GPIO pins : PF4 PF6 PF7 PF8
                           PF9 PF10 PF11 PF12
                           PF13 PF14 PF15 */
  GPIO_InitStruct.Pin = GPIO_PIN_4|GPIO_PIN_6|GPIO_PIN_7|GPIO_PIN_8
                          |GPIO_PIN_9|GPIO_PIN_10|GPIO_PIN_11|GPIO_PIN_12
                          |GPIO_PIN_13|GPIO_PIN_14|GPIO_PIN_15;
  GPIO_InitStruct.Mode = GPIO_MODE_ANALOG;
  GPIO_InitStruct.Pull = GPIO_NOPULL;
  HAL_GPIO_Init(GPIOF, &GPIO_InitStruct);

  /*Configure GPIO pins : PH0 PH1 PH3 */
  GPIO_InitStruct.Pin = GPIO_PIN_0|GPIO_PIN_1|GPIO_PIN_3;
  GPIO_InitStruct.Mode = GPIO_MODE_ANALOG;
  GPIO_InitStruct.Pull = GPIO_NOPULL;
  HAL_GPIO_Init(GPIOH, &GPIO_InitStruct);

  /*Configure GPIO pins : PC2 PC3 PC6 PC9
                           PC10 PC11 */
  GPIO_InitStruct.Pin = GPIO_PIN_2|GPIO_PIN_3|GPIO_PIN_6|GPIO_PIN_9
                          |GPIO_PIN_10|GPIO_PIN_11;
  GPIO_InitStruct.Mode = GPIO_MODE_ANALOG;
  GPIO_InitStruct.Pull = GPIO_NOPULL;
  HAL_GPIO_Init(GPIOC, &GPIO_InitStruct);

  /*Configure GPIO pins : PA4 PA8 UCPD1_CC1_Pin */
  GPIO_InitStruct.Pin = GPIO_PIN_4|GPIO_PIN_8|UCPD1_CC1_Pin;
  GPIO_InitStruct.Mode = GPIO_MODE_ANALOG;
  GPIO_InitStruct.Pull = GPIO_NOPULL;
  HAL_GPIO_Init(GPIOA, &GPIO_InitStruct);

  /*Configure GPIO pins : PB0 PB1 PB2 PB10
                           PB11 PB13 UCPD1_CC2_Pin PB4
                           PB6 PB8 PB9 */
  GPIO_InitStruct.Pin = GPIO_PIN_0|GPIO_PIN_1|GPIO_PIN_2|GPIO_PIN_10
                          |GPIO_PIN_11|GPIO_PIN_13|UCPD1_CC2_Pin|GPIO_PIN_4
                          |GPIO_PIN_6|GPIO_PIN_8|GPIO_PIN_9;
  GPIO_InitStruct.Mode = GPIO_MODE_ANALOG;
  GPIO_InitStruct.Pull = GPIO_NOPULL;
  HAL_GPIO_Init(GPIOB, &GPIO_InitStruct);

  /*Configure GPIO pins : PG0 PG1 PG5 PG6
                           PG7 PG8 PG13 PG14
                           PG15 */
  GPIO_InitStruct.Pin = GPIO_PIN_0|GPIO_PIN_1|GPIO_PIN_5|GPIO_PIN_6
                          |GPIO_PIN_7|GPIO_PIN_8|GPIO_PIN_13|GPIO_PIN_14
                          |GPIO_PIN_15;
  GPIO_InitStruct.Mode = GPIO_MODE_ANALOG;
  GPIO_InitStruct.Pull = GPIO_NOPULL;
  HAL_GPIO_Init(GPIOG, &GPIO_InitStruct);

  /*Configure GPIO pin : UCPD_FLT_Pin */
  GPIO_InitStruct.Pin = UCPD_FLT_Pin;
  GPIO_InitStruct.Mode = GPIO_MODE_INPUT;
  GPIO_InitStruct.Pull = GPIO_NOPULL;
  HAL_GPIO_Init(UCPD_FLT_GPIO_Port, &GPIO_InitStruct);

  /*Configure GPIO pins : PD8 PD9 PD10 PD11
                           PD12 PD13 PD14 PD15 */
  GPIO_InitStruct.Pin = GPIO_PIN_8|GPIO_PIN_9|GPIO_PIN_10|GPIO_PIN_11
                          |GPIO_PIN_12|GPIO_PIN_13|GPIO_PIN_14|GPIO_PIN_15;
  GPIO_InitStruct.Mode = GPIO_MODE_ANALOG;
  GPIO_InitStruct.Pull = GPIO_NOPULL;
  HAL_GPIO_Init(GPIOD, &GPIO_InitStruct);

  /*Configure GPIO pins : LED_RED_Pin CT_FET_Pin GNSS_FET_Pin GNSS_EXTINT_Pin
                           IMU_INT_Pin IMU_nRESET_Pin */
  GPIO_InitStruct.Pin = LED_RED_Pin|CT_FET_Pin|GNSS_FET_Pin|GNSS_EXTINT_Pin
                          |IMU_INT_Pin|IMU_nRESET_Pin;
  GPIO_InitStruct.Mode = GPIO_MODE_OUTPUT_PP;
  GPIO_InitStruct.Pull = GPIO_NOPULL;
  GPIO_InitStruct.Speed = GPIO_SPEED_FREQ_LOW;
  HAL_GPIO_Init(GPIOG, &GPIO_InitStruct);

  /*Configure GPIO pin : LED_GREEN_Pin */
  GPIO_InitStruct.Pin = LED_GREEN_Pin;
  GPIO_InitStruct.Mode = GPIO_MODE_OUTPUT_PP;
  GPIO_InitStruct.Pull = GPIO_PULLUP;
  GPIO_InitStruct.Speed = GPIO_SPEED_FREQ_HIGH;
  HAL_GPIO_Init(LED_GREEN_GPIO_Port, &GPIO_InitStruct);

  /*Configure GPIO pins : USB_OTG_FS_DM_Pin USB_OTG_FS_DP_Pin */
  GPIO_InitStruct.Pin = USB_OTG_FS_DM_Pin|USB_OTG_FS_DP_Pin;
  GPIO_InitStruct.Mode = GPIO_MODE_AF_PP;
  GPIO_InitStruct.Pull = GPIO_NOPULL;
  GPIO_InitStruct.Speed = GPIO_SPEED_FREQ_VERY_HIGH;
  GPIO_InitStruct.Alternate = GPIO_AF10_USB;
  HAL_GPIO_Init(GPIOA, &GPIO_InitStruct);

  /*Configure GPIO pins : IMU_FET_Pin IRIDIUM_FET_Pin RF_SWITCH_VCTL_Pin RF_SWITCH_EN_Pin
                           IRIDIUM_OnOff_Pin */
  GPIO_InitStruct.Pin = IMU_FET_Pin|IRIDIUM_FET_Pin|RF_SWITCH_VCTL_Pin|RF_SWITCH_EN_Pin
                          |IRIDIUM_OnOff_Pin;
  GPIO_InitStruct.Mode = GPIO_MODE_OUTPUT_PP;
  GPIO_InitStruct.Pull = GPIO_NOPULL;
  GPIO_InitStruct.Speed = GPIO_SPEED_FREQ_LOW;
  HAL_GPIO_Init(GPIOD, &GPIO_InitStruct);

  /*Configure GPIO pins : PD5 IRIDIUM_RI_Pin */
  GPIO_InitStruct.Pin = GPIO_PIN_5|IRIDIUM_RI_Pin;
  GPIO_InitStruct.Mode = GPIO_MODE_INPUT;
  GPIO_InitStruct.Pull = GPIO_NOPULL;
  HAL_GPIO_Init(GPIOD, &GPIO_InitStruct);

  /*Configure GPIO pins : UCPD_DBn_Pin LED_BLUE_Pin */
  GPIO_InitStruct.Pin = UCPD_DBn_Pin|LED_BLUE_Pin;
  GPIO_InitStruct.Mode = GPIO_MODE_OUTPUT_PP;
  GPIO_InitStruct.Pull = GPIO_NOPULL;
  GPIO_InitStruct.Speed = GPIO_SPEED_FREQ_LOW;
  HAL_GPIO_Init(GPIOB, &GPIO_InitStruct);

}

/* USER CODE BEGIN 4 */
/*
void Send_MON_VER(void) {
    uint8_t mon_ver_msg[] = {
        0xB5, 0x62,  // Sync chars
        0x0A, 0x04,  // Class: MON, ID: VER
        0x00, 0x00,  // Length: 0 (no payload)
        0x00, 0x00   // Checksum placeholder
    };

    // Calculate checksum
    uint8_t ck_a = 0, ck_b = 0;
    for (int i = 2; i < sizeof(mon_ver_msg) - 2; i++) {
        ck_a += mon_ver_msg[i];
        ck_b += ck_a;
    }
    mon_ver_msg[sizeof(mon_ver_msg) - 2] = ck_a;
    mon_ver_msg[sizeof(mon_ver_msg) - 1] = ck_b;

    // Send MON-VER message
    HAL_UART_Transmit(&hlpuart1, mon_ver_msg, sizeof(mon_ver_msg), HAL_MAX_DELAY);
}

void Read_MON_VER_Response(void) {
    uint8_t response_buffer[256];  // Adjust size if needed
    HAL_StatusTypeDef status;

    // Wait for the response (timeout can be adjusted)
    status = HAL_UART_Receive(&hlpuart1, response_buffer, sizeof(response_buffer), 1000);

      if (status == HAL_OK) {
        // Process the received response
        Process_MON_VER_Response(response_buffer, sizeof(response_buffer));
    } else {
        // Handle receive error
        printf("Error receiving response\n");
    }
}

void Process_MON_VER_Response(uint8_t *data, uint16_t len) {
    // Check for valid MON-VER response
    if (len < 10) {
        printf("Response too short\n");
        return;
    }

    // Check if the response starts with the sync chars
    if (data[0] != 0xB5 || data[1] != 0x62) {
        printf("Invalid response header\n");
        return;
    }

    // Validate the class and ID
    if (data[2] != 0x0A || data[3] != 0x04) {
        printf("Not a MON-VER response\n");
        return;
    }

    // Length of the payload
    uint16_t payload_length = (data[4] | (data[5] << 8));

    // Process version information from the payload
    printf("MON-VER Response:\n");
    for (int i = 6; i < 6 + payload_length; i++) {
        printf("%02X ", data[i]);
    }
    printf("\n");
}*/
/* USER CODE END 4 */

void Error_Handler(void)
{
  /* USER CODE BEGIN Error_Handler_Debug */
  /* User can add his own implementation to report the HAL error return state */
  __disable_irq();
  HAL_NVIC_SystemReset();
  while (1)
  {
	  shut_it_all_down();
	  HAL_NVIC_SystemReset();
  }
  /* USER CODE END Error_Handler_Debug */
}
